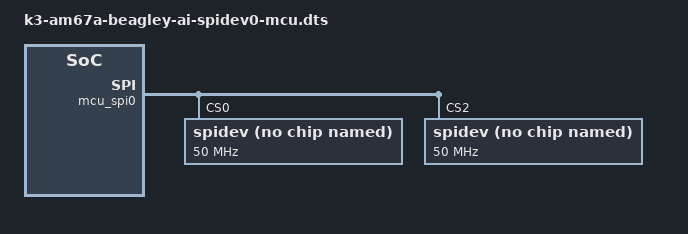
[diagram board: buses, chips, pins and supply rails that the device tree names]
/*
 * Copyright 2025 William Schmidt
 *
 * Use of this source code is governed by an MIT-style
 * license that can be found in the LICENSE file or at
 * https://opensource.org/licenses/MIT.
 */ 
/dts-v1/;
/plugin/;

#include <dt-bindings/gpio/gpio.h>
#include "ti/k3-pinctrl.h"

/*
 * Helper to show loaded overlays under: /proc/device-tree/chosen/overlays/
 */
&{/chosen} {
        overlays {
                k3-am67a-beagley-ai-spidev0-mcu.kernel = __TIMESTAMP__;
                mcu-mcspi0.4b00000.spi = "k3-am67a-beagley-ai-spi-mcu-mcspi0.4b00000";
        };
};

&{/aliases} {
        spi0 = <&mcu_spi0>;
};

&mcu_pmx0 {
        mcu_spi0_pins_default: mcu-spi0-default-pins {
                pinctrl-single,pins = <
                        J722S_MCU_IOPAD(0x0000, PIN_OUTPUT, 0) /* (C12) MCU_SPI0_CS0 */
                        J722S_MCU_IOPAD(0x0024, PIN_OUTPUT, 2) /* (B3) MCU_SPI0_CS2 */
                        J722S_MCU_IOPAD(0x0008, PIN_OUTPUT, 0) /* (A9) MCU_SPI0_CLK */
                        J722S_MCU_IOPAD(0x000C, PIN_OUTPUT, 0) /* (B12) MCU_SPI0_D0 */
                        J722S_MCU_IOPAD(0x0010, PIN_INPUT, 0)  /* (C11) MCU_SPI0_D1 */
                >;
                bootph-all;
        };
};

&mcu_spi0 {
        status = "okay";
        pinctrl-names = "default";
        pinctrl-0 = <&mcu_spi0_pins_default>;
        ti,spi-num-cs = <3>;

        // Need these lines to get rid of dtc warnings
        #address-cells = <1>;
        #size-cells = <0>;

        // Swap the data pin roles to match the spi_gpio config
        // Default mapping is d0 = miso, d1 = mosi, this line sets the opposite
        ti,pindir-d0-out-d1-in;

        spidev@0 {
                spi-max-frequency = <50000000>;
                reg = <0>;
                compatible = "rohm,dh2228fv";
        };

        // The pin that spi_gpio uses for cs1 is mcu_spi0_cs2.
        spidev@2 {
                spi-max-frequency = <50000000>;
                reg = <2>;
                compatible = "rohm,dh2228fv";
        };
};
